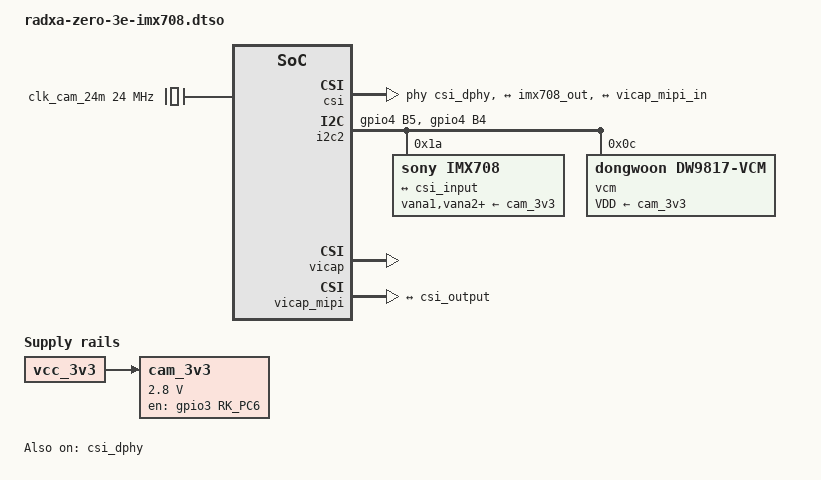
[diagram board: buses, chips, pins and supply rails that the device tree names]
// SPDX-License-Identifier: (GPL-2.0+ OR MIT)
/*
 * Raspberry Pi Camera Module 3 (Sony IMX708 + DW9817 VCM) on the
 * Radxa ZERO 3E CSI connector.
 */

/dts-v1/;
/plugin/;

#include <dt-bindings/gpio/gpio.h>
#include <dt-bindings/interrupt-controller/arm-gic.h>
#include <dt-bindings/clock/rk3568-cru.h>
#include <dt-bindings/power/rk3568-power.h>
#include <dt-bindings/pinctrl/rockchip.h>
#include <dt-bindings/media/video-interfaces.h>

&{/} {
	clk_cam_24m: external-camera-clock-24m {
		compatible = "fixed-clock";
		clock-frequency = <24000000>;
		clock-output-names = "clk_cam_24m";
		#clock-cells = <0>;
	};

	cam_3v3: regulator-cam-3v3 {
		compatible = "regulator-fixed";
		regulator-name = "cam_3v3";
		regulator-min-microvolt = <2800000>;
		regulator-max-microvolt = <2800000>;
		regulator-always-on;
		regulator-boot-on;
		enable-active-high;
		gpio = <&gpio3 RK_PC6 GPIO_ACTIVE_HIGH>;
		pinctrl-names = "default";
		pinctrl-0 = <&cam0_pwr_en>;
		vin-supply = <&vcc_3v3>;
	};
};

&pinctrl {
	cam0 {
		cam0_pwr_en: cam0-pwr-en {
			rockchip,pins = <3 RK_PC6 RK_FUNC_GPIO &pcfg_pull_none>;
		};

		i2c2_cam_xfer: i2c2-cam-xfer {
			rockchip,pins = <4 RK_PB5 1 &pcfg_pull_none_smt>,
					<4 RK_PB4 1 &pcfg_pull_none_smt>;
		};
	};
};

&i2c2 {
	status = "okay";
	pinctrl-names = "default";
	pinctrl-0 = <&i2c2_cam_xfer>;

	imx708: camera@1a {
		compatible = "sony,imx708";
		reg = <0x1a>;
		status = "okay";

		clocks = <&clk_cam_24m>;
		clock-names = "inclk";

		vana1-supply = <&cam_3v3>;
		vana2-supply = <&cam_3v3>;
		vdig-supply = <&cam_3v3>;
		vddl-supply = <&cam_3v3>;

		lens-focus = <&vcm>;

		port {
			imx708_out: endpoint {
				remote-endpoint = <&csi_input>;
				bus-type = <MEDIA_BUS_TYPE_CSI2_DPHY>;
				clock-lanes = <0>;
				data-lanes = <1 2>;
				clock-noncontinuous;
				link-frequencies = /bits/ 64 <450000000>;
			};
		};
	};

	vcm: lens@c {
		compatible = "dongwoon,dw9817-vcm";
		reg = <0x0c>;
		status = "okay";
		VDD-supply = <&cam_3v3>;
	};
};

&{/} {
	csi: csi@fdfb0000 {
		compatible = "rockchip,rk3568-mipi-csi2";
		reg = <0x0 0xfdfb0000 0x0 0x10000>;
		interrupts = <GIC_SPI 8 IRQ_TYPE_LEVEL_HIGH>,
			     <GIC_SPI 9 IRQ_TYPE_LEVEL_HIGH>;
		interrupt-names = "err1", "err2";
		clocks = <&cru PCLK_CSI2HOST1>;
		phys = <&csi_dphy>;
		power-domains = <&power RK3568_PD_VI>;
		resets = <&cru SRST_P_CSI2HOST1>;
		status = "okay";

		ports {
			#address-cells = <1>;
			#size-cells = <0>;

			csi_in: port@0 {
				reg = <0>;

				csi_input: endpoint {
					remote-endpoint = <&imx708_out>;
					bus-type = <MEDIA_BUS_TYPE_CSI2_DPHY>;
					clock-lanes = <0>;
					data-lanes = <1 2>;
					clock-noncontinuous;
				};
			};

			csi_out: port@1 {
				reg = <1>;

				csi_output: endpoint {
					remote-endpoint = <&vicap_mipi_in>;
				};
			};
		};
	};
};

&csi_dphy {
	status = "okay";
};

&vicap {
	status = "okay";
};

&vicap_mipi {
	vicap_mipi_in: endpoint {
		remote-endpoint = <&csi_output>;
	};
};

&vicap_mmu {
	status = "okay";
};
